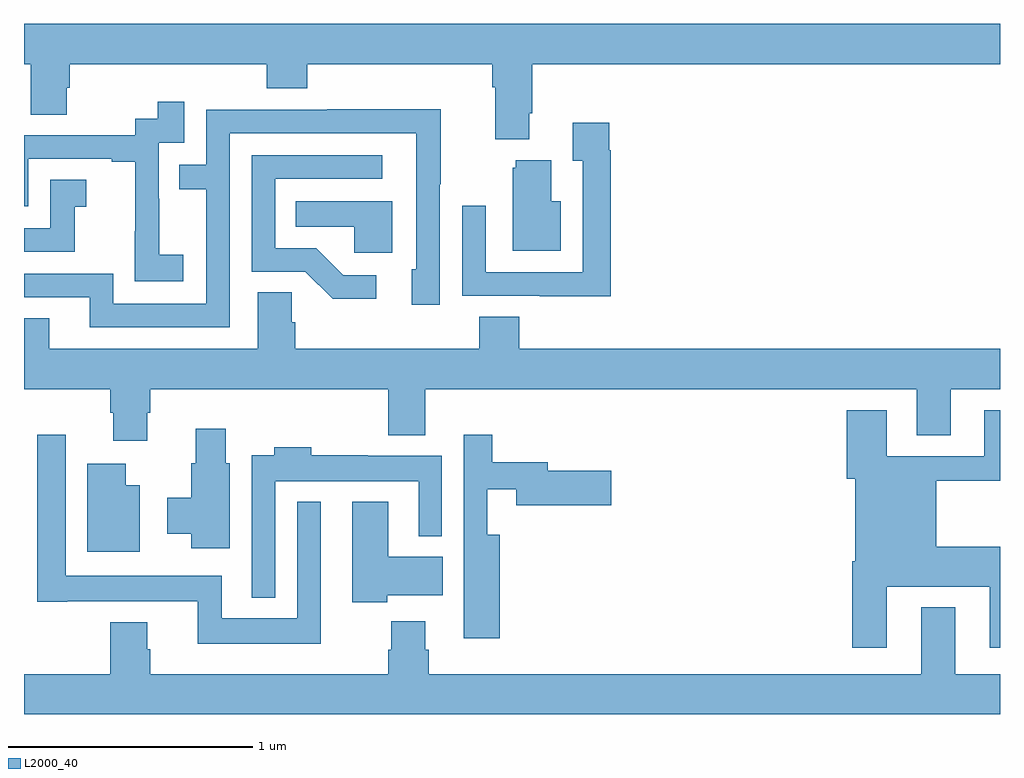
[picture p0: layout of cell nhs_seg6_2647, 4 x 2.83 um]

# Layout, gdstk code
import gdstk
lib = gdstk.Library(unit=1e-6, precision=1e-09)
def P(c, l, *ps):  # polygons
    for p in ps: c.add(gdstk.Polygon(p, *l))
L2000_40 = (2000, 40)

nhs_seg6_2647 = lib.new_cell('nhs_seg6_2647')
P(nhs_seg6_2647, L2000_40, [(269.071,988.426),(269.084,988.426),(269.084,988.628),(271,988.628),(271,988.792),(267,988.792),(267,988.628),(267.028,988.628),(267.028,988.42),(267.175,988.42),(267.175,988.53),(267.188,988.53),(267.188,988.628),(267.995,988.628),(267.995,988.529),(268.16,988.529),(268.16,988.628),(268.919,988.628),(268.919,988.532),(268.931,988.532),(268.931,988.319),(269.071,988.319)],
  [(267.652,987.847),(267.554,987.847),(267.554,988.076),(267.552,988.076),(267.552,988.305),(267.657,988.305),(267.657,988.474),(267.549,988.474),(267.549,988.404),(267.456,988.404),(267.456,988.335),(267,988.335),(267,988.044),(267.018,988.044),(267.018,988.239),(267.359,988.239),(267.359,988.227),(267.455,988.227),(267.455,987.943),(267.454,987.943),(267.454,987.737),(267.652,987.737)],
  [(267.843,988.344),(268.607,988.344),(268.607,988.096),(268.608,988.096),(268.608,987.786),(268.589,987.786),(268.589,987.642),(268.704,987.642),(268.704,988.135),(268.707,988.135),(268.707,988.442),(268.243,988.442),(268.243,988.44),(267.747,988.44),(267.747,988.215),(267.637,988.215),(267.637,988.114),(267.747,988.114),(267.747,987.645),(267.366,987.645),(267.366,987.768),(267,987.768),(267,987.672),(267.269,987.672),(267.269,987.549),(267.843,987.549)],
  [(269.405,988.274),(269.398,988.274),(269.398,988.387),(269.249,988.387),(269.249,988.231),(269.289,988.231),(269.289,987.774),(268.893,987.774),(268.893,988.048),(268.797,988.048),(268.797,987.678),(269.113,987.678),(269.113,987.677),(269.405,987.677)],
  [(268.444,987.762),(268.309,987.762),(268.198,987.873),(268.029,987.873),(268.029,988.158),(268.468,988.158),(268.468,988.254),(267.933,988.254),(267.933,987.777),(268.152,987.777),(268.265,987.665),(268.444,987.665)],
  [(269.2,988.066),(269.161,988.066),(269.161,988.234),(269.015,988.234),(269.015,988.203),(269.003,988.203),(269.003,987.863),(269.2,987.863)],
  [(267.207,988.043),(267.256,988.043),(267.256,988.153),(267.108,988.153),(267.108,987.954),(267,987.954),(267,987.858),(267.207,987.858)],
  [(268.51,988.066),(268.114,988.066),(268.114,987.962),(268.353,987.962),(268.353,987.854),(268.51,987.854)],
  [(267.505,987.198),(267.518,987.198),(267.518,987.296),(268.493,987.296),(268.493,987.107),(268.645,987.107),(268.645,987.296),(270.659,987.296),(270.659,987.106),(270.799,987.106),(270.799,987.296),(271,987.296),(271,987.46),(269.03,987.46),(269.03,987.593),(268.865,987.593),(268.865,987.46),(268.112,987.46),(268.112,987.569),(268.098,987.569),(268.098,987.692),(267.959,987.692),(267.959,987.46),(267.103,987.46),(267.103,987.587),(267,987.587),(267,987.296),(267.353,987.296),(267.353,987.198),(267.365,987.198),(267.365,987.084),(267.505,987.084)],
  [(270.535,986.486),(270.959,986.486),(270.959,986.235),(271,986.235),(271,986.65),(270.739,986.65),(270.739,986.92),(271,986.92),(271,987.208),(270.935,987.208),(270.935,987.021),(270.535,987.021),(270.535,987.208),(270.371,987.208),(270.371,986.928),(270.407,986.928),(270.407,986.59),(270.395,986.59),(270.395,986.235),(270.535,986.235)],
  [(267.844,986.991),(267.826,986.991),(267.826,987.133),(267.704,987.133),(267.704,986.991),(267.686,986.991),(267.686,986.85),(267.587,986.85),(267.587,986.702),(267.686,986.702),(267.686,986.643),(267.844,986.643)],
  [(268.949,986.698),(268.899,986.698),(268.899,986.885),(269.018,986.885),(269.018,986.819),(269.407,986.819),(269.407,986.961),(269.146,986.961),(269.146,986.995),(268.919,986.995),(268.919,987.109),(268.803,987.109),(268.803,986.594),(268.802,986.594),(268.802,986.274),(268.949,986.274)],
  [(268.216,986.833),(268.119,986.833),(268.119,986.356),(267.81,986.356),(267.81,986.53),(267.171,986.53),(267.171,987.109),(267.055,987.109),(267.055,986.424),(267.178,986.424),(267.178,986.426),(267.713,986.426),(267.713,986.252),(268.216,986.252)],
  [(268.029,986.918),(268.617,986.918),(268.617,986.693),(268.713,986.693),(268.713,987.022),(268.409,987.022),(268.409,987.025),(268.178,987.025),(268.178,987.058),(268.025,987.058),(268.025,987.025),(267.933,987.025),(267.933,986.441),(268.029,986.441)],
  [(267.475,986.902),(267.418,986.902),(267.418,986.989),(267.26,986.989),(267.26,986.63),(267.475,986.63)],
  [(268.488,986.45),(268.717,986.45),(268.717,986.608),(268.492,986.608),(268.492,986.833),(268.346,986.833),(268.346,986.423),(268.488,986.423)],
  [(271,986.128),(270.817,986.128),(270.817,986.401),(270.677,986.401),(270.677,986.128),(268.658,986.128),(268.658,986.228),(268.645,986.228),(268.645,986.344),(268.505,986.344),(268.505,986.228),(268.493,986.228),(268.493,986.128),(267.518,986.128),(267.518,986.229),(267.505,986.229),(267.505,986.341),(267.353,986.341),(267.353,986.128),(267,986.128),(267,985.964),(271,985.964)])

lib.write_gds('nhs_seg6_2647.gds')
